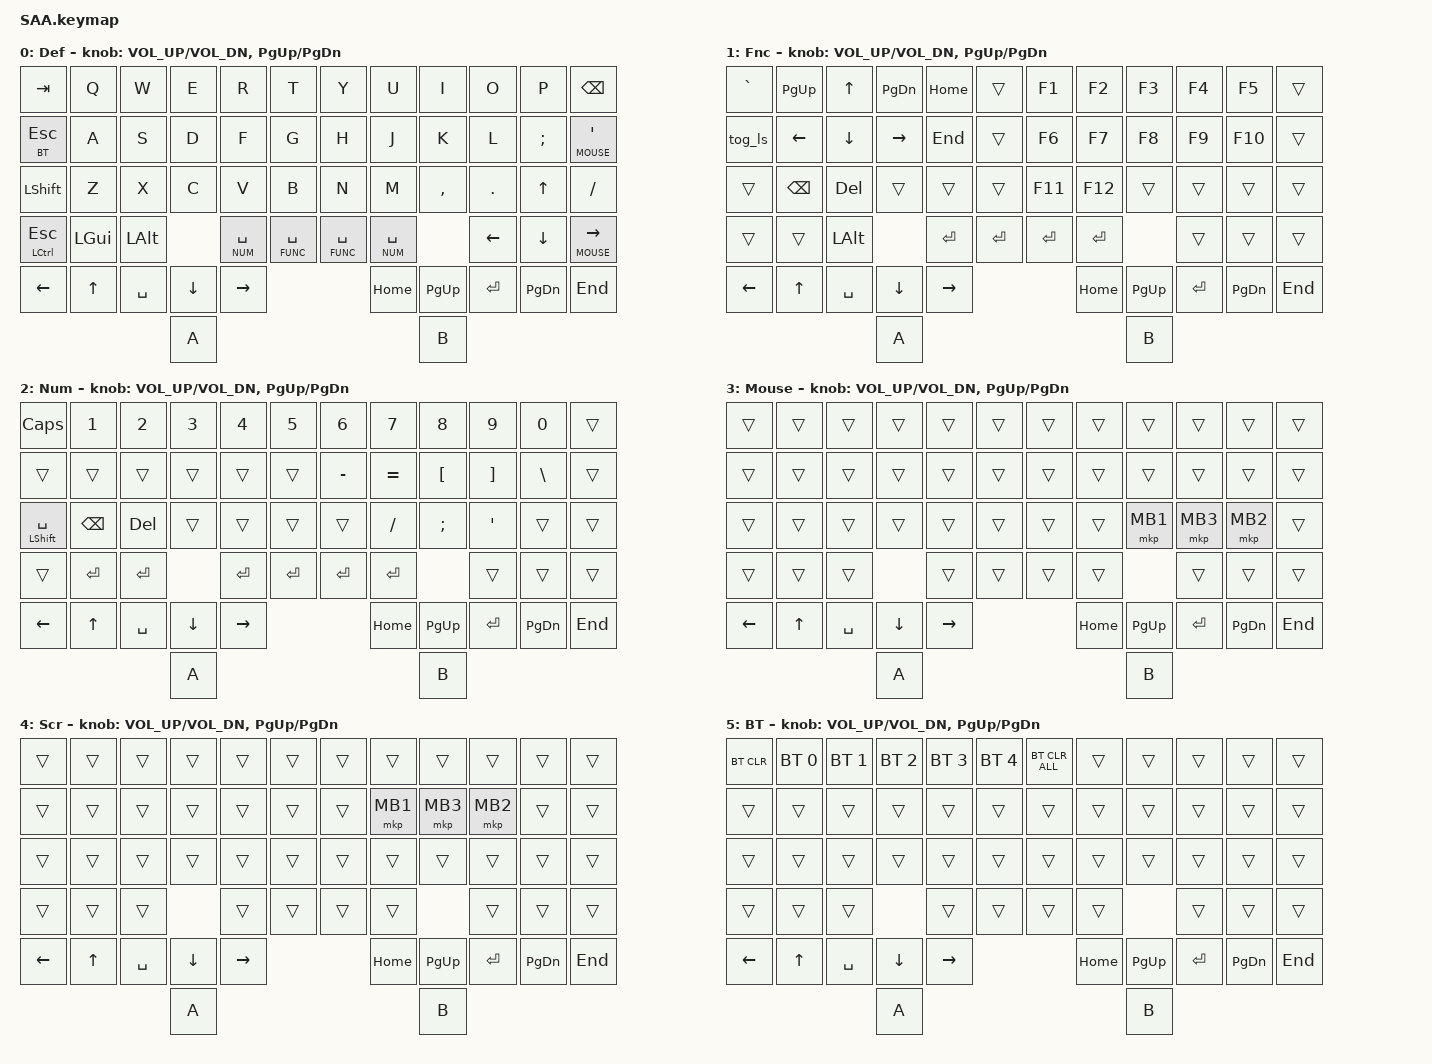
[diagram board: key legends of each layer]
// #include <layout_shift.dtsi>

#include <behaviors.dtsi>
#include <dt-bindings/zmk/bt.h>
#include <dt-bindings/zmk/keys.h>
#include <dt-bindings/zmk/pointing.h>
#include <layout_shift_kp_override.dtsi>

#define DEF 0
#define FUNC 1
#define NUM 2
#define MOUSE 3
#define SCROLL 4
#define BT 5

// Favor thumb Space taps during overlapping typing. Layer holds resolve at
// 350 ms; quick repeated taps stay Space. This applies to every &lt binding.
&lt {
    flavor = "tap-preferred";
    tapping-term-ms = <350>;
    quick-tap-ms = <200>;
    require-prior-idle-ms = <150>;
};

&mt {
    flavor = "balanced";
    tapping-term-ms = <280>;
    quick-tap-ms = <175>;
    require-prior-idle-ms = <150>;
};

/ {
    keymap {
        compatible = "zmk,keymap";

        default_layer {
            label = "Def";
            bindings = <
&kp TAB       &kp Q     &kp W      &kp E     &kp R          &kp T               &kp Y           &kp U          &kp I      &kp O      &kp P      &kp BKSP
&lt BT ESC    &kp A     &kp S      &kp D     &kp F          &kp G               &kp H           &kp J          &kp K      &kp L      &kp SEMI   &lt MOUSE SQT
&kp LSHFT     &kp Z     &kp X      &kp C     &kp V          &kp B               &kp N           &kp M          &kp COMMA  &kp DOT    &kp UP     &kp FSLH
&mt LCTL ESC  &kp LGUI  &kp LALT             &lt NUM SPACE  &lt FUNC SPACE      &lt FUNC SPACE  &lt NUM SPACE             &kp LEFT   &kp DOWN   &lt MOUSE RIGHT
&kp LEFT      &kp UP    &kp SPACE  &kp DOWN  &kp RIGHT                                          &kp HOME       &kp PG_UP  &kp ENTER  &kp PG_DN  &kp END
                                   &kp A                                                                       &kp B
            >;

            sensor-bindings = <&inc_dec_kp C_VOL_UP C_VOL_DN &inc_dec_kp PG_UP PG_DN>;
        };

        function_layer {
            label = "Fnc";
            bindings = <
&kp GRAVE  &kp PG_UP  &kp UP     &kp PG_DN  &kp HOME   &trans         &kp F1     &kp F2     &kp F3     &kp F4     &kp F5     &trans
&tog_ls    &kp LEFT   &kp DOWN   &kp RIGHT  &kp END    &trans         &kp F6     &kp F7     &kp F8     &kp F9     &kp F10    &trans
&trans     &kp BKSP   &kp DEL    &trans     &trans     &trans         &kp F11    &kp F12    &trans     &trans     &trans     &trans
&trans     &trans     &kp LALT              &kp ENTER  &kp ENTER      &kp ENTER  &kp ENTER             &trans     &trans     &trans
&kp LEFT   &kp UP     &kp SPACE  &kp DOWN   &kp RIGHT                            &kp HOME   &kp PG_UP  &kp ENTER  &kp PG_DN  &kp END
                                 &kp A                                                      &kp B
            >;

            sensor-bindings = <&inc_dec_kp C_VOL_UP C_VOL_DN &inc_dec_kp PG_UP PG_DN>;
        };

        num_layer {
            label = "Num";
            bindings = <
&kp CAPS         &kp N1         &kp N2     &kp N3    &kp N4     &kp N5         &kp N6     &kp N7     &kp N8     &kp N9     &kp N0     &trans
&trans           &trans         &trans     &trans    &trans     &trans         &kp MINUS  &kp EQUAL  &kp LBKT   &kp RBKT   &kp BSLH   &trans
&mt LSHFT SPACE  &kp BACKSPACE  &kp DEL    &trans    &trans     &trans         &trans     &kp FSLH   &kp SEMI   &kp SQT    &trans     &trans
&trans           &kp ENTER      &kp ENTER            &kp ENTER  &kp ENTER      &kp ENTER  &kp ENTER             &trans     &trans     &trans
&kp LEFT         &kp UP         &kp SPACE  &kp DOWN  &kp RIGHT                            &kp HOME   &kp PG_UP  &kp ENTER  &kp PG_DN  &kp END
                                           &kp A                                                     &kp B
            >;

            sensor-bindings = <&inc_dec_kp C_VOL_UP C_VOL_DN &inc_dec_kp PG_UP PG_DN>;
        };

        mouse_layer {
            label = "Mouse";
            bindings = <
&trans    &trans  &trans     &trans    &trans     &trans      &trans  &trans    &trans     &trans     &trans     &trans
&trans    &trans  &trans     &trans    &trans     &trans      &trans  &trans    &trans     &trans     &trans     &trans
&trans    &trans  &trans     &trans    &trans     &trans      &trans  &trans    &mkp MB1   &mkp MB3   &mkp MB2   &trans
&trans    &trans  &trans               &trans     &trans      &trans  &trans               &trans     &trans     &trans
&kp LEFT  &kp UP  &kp SPACE  &kp DOWN  &kp RIGHT                      &kp HOME  &kp PG_UP  &kp ENTER  &kp PG_DN  &kp END
                             &kp A                                              &kp B
            >;

            sensor-bindings = <&inc_dec_kp C_VOL_UP C_VOL_DN &inc_dec_kp PG_UP PG_DN>;
        };

        scroll_layer {
            label = "Scr";
            bindings = <
&trans    &trans  &trans     &trans    &trans     &trans      &trans  &trans    &trans     &trans     &trans     &trans
&trans    &trans  &trans     &trans    &trans     &trans      &trans  &mkp MB1   &mkp MB3   &mkp MB2  &trans     &trans
&trans    &trans  &trans     &trans    &trans     &trans      &trans  &trans    &trans     &trans     &trans     &trans
&trans    &trans  &trans               &trans     &trans      &trans  &trans               &trans     &trans     &trans
&kp LEFT  &kp UP  &kp SPACE  &kp DOWN  &kp RIGHT                      &kp HOME  &kp PG_UP  &kp ENTER  &kp PG_DN  &kp END
                             &kp A                                              &kp B
            >;

            sensor-bindings = <&inc_dec_kp C_VOL_UP C_VOL_DN &inc_dec_kp PG_UP PG_DN>;
        };

        bt_layer {
            label = "BT";
            bindings = <
&bt BT_CLR  &bt BT_SEL 0  &bt BT_SEL 1  &bt BT_SEL 2  &bt BT_SEL 3  &bt BT_SEL 4      &bt BT_CLR_ALL  &trans    &trans     &trans     &trans     &trans
&trans      &trans        &trans        &trans        &trans        &trans            &trans          &trans    &trans     &trans     &trans     &trans
&trans      &trans        &trans        &trans        &trans        &trans            &trans          &trans    &trans     &trans     &trans     &trans
&trans      &trans        &trans                      &trans        &trans            &trans          &trans               &trans     &trans     &trans
&kp LEFT    &kp UP        &kp SPACE     &kp DOWN      &kp RIGHT                                       &kp HOME  &kp PG_UP  &kp ENTER  &kp PG_DN  &kp END
                                        &kp A                                                                   &kp B
            >;

            sensor-bindings = <&inc_dec_kp C_VOL_UP C_VOL_DN &inc_dec_kp PG_UP PG_DN>;
        };
    };
};
